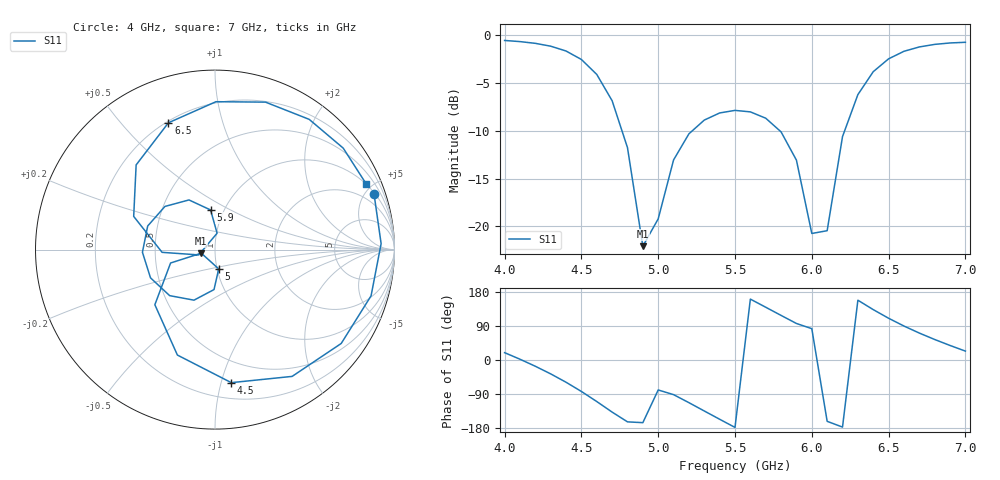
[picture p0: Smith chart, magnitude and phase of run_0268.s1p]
! Touchstone file exported from HFSS 2024.2.0
!  File:  C:/Users/wsak9/Desktop/Sim Fast/Widenad Patch/WP_AI_V1_sweep.aedt
!  Generated:  02:16:45 AM Oct 14, 2026
!  Design:  A1_model
!  Project:  WP_AI_V1_sweep
!  Setup:  Setup1
!  Solution:  Sweep
! Variables:
!  Air_gap = 2.48mm
!  Curve_Amp1 = 0.96
!  Curve_len1 = 1
!  Curve_pos = 11.15mm
!  Extra = 5.19mm
!  H_sub = 0.79mm
!  L_Patch = 18.3mm
!  L_Patch1 = 15.29mm
!  Sx = 0.55mm
!  Sy = 0.64mm
!  WS = 1.15mm
!  W_Patch = 15.45mm
!  W_Patch1 = 10.1mm
!Data is not renormalized
# GHz S MA
! Terminal data exported
! Port[1] = 1
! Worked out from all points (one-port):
!   31 points, 4 GHz to 7 GHz, reference per port
!   lowest |S11| = -22.1 dB at 4.9 GHz (marker M1), VSWR 1.17
!   |S11| at or under -10 dB: 4.764 GHz to 5.222 GHz (457.3 MHz wide, 9.16 % of centre); 5.793 GHz to 6.214 GHz (421.2 MHz wide, 7.02 % of centre)
!   S11 on the Smith chart (normalised r, x): 4 GHz: 1.08, +5.66; 4.5 GHz: 0.32, -1.08; 5 GHz: 1.02, -0.22; 5.9 GHz: 0.87, +0.40; 6.5 GHz: 0.21, +0.68; 7 GHz: 0.98, +4.60
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4  0.9389 19.4
4.1  0.9261 2.0
4.2  0.9069 -16.5
4.3  0.8764 -36.6
4.4  0.8269 -58.7
4.5  0.7468 -83.0
4.6  0.6238 -109.6
4.7  0.4545 -137.5
4.8  0.2584 -163.2
4.9  0.07891 -165.4
5  0.1096 -79.1
5.1  0.2228 -91.4
5.2  0.3052 -112.6
5.3  0.36 -134.6
5.5  0.4046 -177.9
5.7  0.3683 139.2
5.8  0.3123 117.7
5.9  0.2222 96.4
6  0.09194 82.7
6.1  0.09506 -161.9
6.2  0.2951 -177.0
6.3  0.4893 157.8
6.4  0.6447 133.0
6.5  0.7527 110.2
6.6  0.824 89.6
6.7  0.8685 71.1
6.9  0.9111 38.4
7  0.9184 23.5
